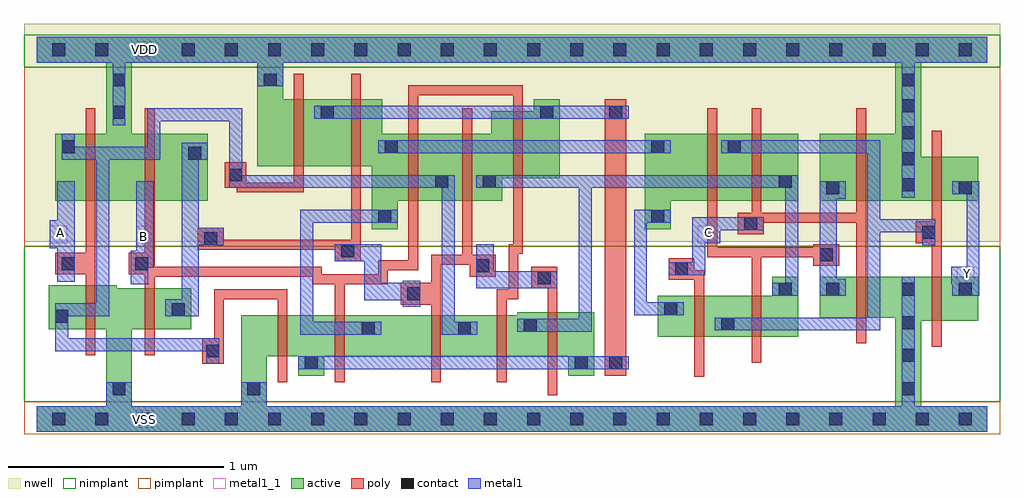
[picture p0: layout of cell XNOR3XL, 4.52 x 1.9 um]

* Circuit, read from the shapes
.subckt XNOR3XL A B C VDD VSS Y
M1 VSS A n1 VSS nfet w=0.205u l=0.045u
M2 n2 B VSS VSS nfet w=0.19u l=0.045u
M3 n3 n1 VSS VSS nfet w=0.19u l=0.045u
M4 n4 B n3 VSS nfet w=0.19u l=0.045u
M5 n1 n2 n4 VSS nfet w=0.19u l=0.045u
M6 n5 B n1 VSS nfet w=0.19u l=0.045u
M7 n3 n2 n5 VSS nfet w=0.205u l=0.045u
M8 n6 C n4 VSS nfet w=0.19u l=0.045u
M9 n5 n7 n6 VSS nfet w=0.19u l=0.045u
M10 VSS C n7 VSS nfet w=0.19u l=0.045u
M11 Y n6 VSS VSS nfet w=0.205u l=0.045u
M12 VDD A n1 VDD pfet w=0.31u l=0.045u
M13 n2 B VDD VDD pfet w=0.31u l=0.045u
M14 n3 n1 VDD VDD pfet w=0.31u l=0.045u
M15 n4 n2 n3 VDD pfet w=0.31u l=0.045u
M16 n1 B n4 VDD pfet w=0.31u l=0.045u
M17 n5 n2 n1 VDD pfet w=0.31u l=0.045u
M18 n3 B n5 VDD pfet w=0.31u l=0.045u
M19 n6 n7 n4 VDD pfet w=0.31u l=0.045u
M20 n5 C n6 VDD pfet w=0.31u l=0.045u
M21 VDD C n7 VDD pfet w=0.31u l=0.045u
M22 Y n6 VDD VDD pfet w=0.205u l=0.045u
.ends

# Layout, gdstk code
import gdstk
lib = gdstk.Library(unit=1e-6, precision=5e-10)
def R(c, l, rs):  # rectangles x0, y0, x1, y1
    for r in rs: c.add(gdstk.rectangle(r[:2], r[2:], *l))
def A(c, l, x, y, w, h, nx, ny, dx, dy):  # array of equal rectangles
    R(c, l, [(x+i*dx, y+j*dy, x+i*dx+w, y+j*dy+h) for i in range(nx) for j in range(ny)])
def P(c, l, *ps):  # polygons
    for p in ps: c.add(gdstk.Polygon(p, *l))
active = (1, 0)
nwell = (2, 0)
poly = (3, 0)
nimplant = (4, 0)
pimplant = (5, 0)
contact = (6, 0)
metal1 = (7, 0)
metal1_1 = (7, 1)

xnor3xl = lib.new_cell('XNOR3XL')
P(xnor3xl, active, [(0,1.77),(4.4,1.77),(4.4,1.65),(4.095,1.65),(4.095,1.215),(4.36,1.215),(4.36,1.01),(3.625,1.01),(3.625,1.32),(3.975,1.32),(3.975,1.65),(1.14,1.65),(1.14,1.48),(1.6,1.48),(1.6,1.32),(2.105,1.32),(2.105,1.425),(2.3,1.425),(2.3,1.48),(2.42,1.48),(2.42,1.115),(2.155,1.115),(2.155,1.01),(1.67,1.01),(1.67,0.88),(1.55,0.88),(1.55,1.17),(1.02,1.17),(1.02,1.65),(0.44,1.65),(0.44,1.32),(0.79,1.32),(0.79,1.01),(0.085,1.01),(0.085,1.32),(0.32,1.32),(0.32,1.65),(0,1.65)],
  [(2.815,1.32),(3.525,1.32),(3.525,1.01),(2.935,1.01),(2.935,0.88),(2.815,0.88)],
  [(0.055,0.62),(0.37,0.62),(0.37,0.605),(0.715,0.605),(0.715,0.415),(0.44,0.415),(0.44,0.06),(0.945,0.06),(0.945,0.48),(2.225,0.48),(2.225,0.495),(2.58,0.495),(2.58,0.2),(2.46,0.2),(2.46,0.29),(1.33,0.29),(1.33,0.2),(1.21,0.2),(1.21,0.29),(1.065,0.29),(1.065,0.06),(3.975,0.06),(3.975,0.47),(3.625,0.47),(3.625,0.66),(4.36,0.66),(4.36,0.455),(4.095,0.455),(4.095,0.06),(4.4,0.06),(4.4,-0.06),(0,-0.06),(0,0.06),(0.32,0.06),(0.32,0.415),(0.055,0.415)],
  [(3.405,0.66),(3.525,0.66),(3.525,0.38),(2.875,0.38),(2.875,0.57),(3.405,0.57)])
R(xnor3xl, nwell, [(-0.06,0.82,4.46,1.83)])
R(xnor3xl, poly, [(2.63,0.2,2.73,1.48)])
P(xnor3xl, poly, [(0.87,1.19),(0.97,1.19),(0.97,1.095),(1.19,1.095),(1.19,1.6),(1.235,1.6),(1.235,1.05),(0.925,1.05),(0.925,1.07),(0.87,1.07)],
  [(0.225,1.44),(0.27,1.44),(0.27,0.295),(0.225,0.295),(0.225,0.67),(0.085,0.67),(0.085,0.77),(0.225,0.77)],
  [(1.72,1.545),(2.25,1.545),(2.25,0.765),(2.23,0.765),(2.23,0.555),(2.175,0.555),(2.175,0.17),(2.13,0.17),(2.13,0.6),(2.185,0.6),(2.185,0.81),(2.205,0.81),(2.205,1.5),(1.765,1.5),(1.765,0.69),(1.625,0.69),(1.625,0.625),(1.425,0.625),(1.425,0.17),(1.38,0.17),(1.38,0.625),(1.275,0.625),(1.275,0.66),(0.545,0.66),(0.545,0.295),(0.5,0.295),(0.5,0.67),(0.425,0.67),(0.425,0.77),(0.5,0.77),(0.5,1.44),(0.545,1.44),(0.545,0.705),(1.32,0.705),(1.32,0.67),(1.58,0.67),(1.58,0.735),(1.72,0.735)],
  [(0.745,0.885),(0.865,0.885),(0.865,0.83),(1.455,0.83),(1.455,1.6),(1.5,1.6),(1.5,0.73),(1.38,0.73),(1.38,0.785),(0.745,0.785)],
  [(1.97,1.44),(2.015,1.44),(2.015,0.76),(2.125,0.76),(2.125,0.66),(2.005,0.66),(2.005,0.715),(1.87,0.715),(1.87,0.17),(1.825,0.17),(1.825,0.53),(1.685,0.53),(1.685,0.63),(1.825,0.63),(1.825,0.76),(1.97,0.76)],
  [(3.105,1.44),(3.15,1.44),(3.15,0.795),(3.595,0.795),(3.595,0.81),(3.715,0.81),(3.715,0.71),(3.595,0.71),(3.595,0.75),(3.355,0.75),(3.355,0.26),(3.31,0.26),(3.31,0.75),(3.105,0.75)],
  [(3.31,1.44),(3.355,1.44),(3.355,0.955),(3.795,0.955),(3.795,1.44),(3.84,1.44),(3.84,0.35),(3.795,0.35),(3.795,0.91),(3.365,0.91),(3.365,0.855),(3.245,0.855),(3.245,0.955),(3.31,0.955)],
  [(4.145,1.335),(4.19,1.335),(4.19,0.335),(4.145,0.335),(4.145,0.815),(4.07,0.815),(4.07,0.915),(4.145,0.915)],
  [(0.82,0.6),(1.16,0.6),(1.16,0.17),(1.115,0.17),(1.115,0.555),(0.865,0.555),(0.865,0.255),(0.765,0.255),(0.765,0.375),(0.82,0.375)],
  [(2.29,0.705),(2.41,0.705),(2.41,0.11),(2.365,0.11),(2.365,0.605),(2.29,0.605)],
  [(2.925,0.745),(3.045,0.745),(3.045,0.69),(3.09,0.69),(3.09,0.195),(3.045,0.195),(3.045,0.645),(2.925,0.645)])
R(xnor3xl, nimplant, [(-0.06,0.08,4.46,0.8), (-0.06,1.63,4.46,1.78)])
R(xnor3xl, pimplant, [(-0.06,-0.07,4.46,0.08), (-0.06,0.8,4.46,1.63)])
A(xnor3xl, contact, 0.07, -0.03, 0.06, 0.06, 22, 2, 0.2, 1.71)
A(xnor3xl, contact, 4.005, 1.055, 0.06, 0.06, 1, 3, 0, 0.12)
R(xnor3xl, contact, [(0.35,0.11,0.41,0.17), (0.975,0.11,1.035,0.17), (4.005,0.11,4.065,0.17), (1.24,0.23,1.3,0.29), (2.49,0.23,2.55,0.29), (2.65,0.23,2.71,0.29), (4.005,0.265,4.065,0.325), (0.785,0.285,0.845,0.345), (1.505,0.39,1.565,0.45), (1.95,0.39,2.01,0.45), (2.255,0.405,2.315,0.465), (3.17,0.41,3.23,0.47), (4.005,0.415,4.065,0.475), (0.085,0.445,0.145,0.505), (0.625,0.475,0.685,0.535), (2.905,0.48,2.965,0.54), (1.715,0.55,1.775,0.61), (3.435,0.57,3.495,0.63), (3.655,0.57,3.715,0.63), (4.005,0.57,4.065,0.63), (4.27,0.57,4.33,0.63), (2.32,0.625,2.38,0.685), (2.955,0.665,3.015,0.725), (2.035,0.68,2.095,0.74), (0.115,0.69,0.175,0.75), (0.455,0.69,0.515,0.75), (3.625,0.73,3.685,0.79), (1.41,0.75,1.47,0.81), (0.775,0.805,0.835,0.865), (4.1,0.835,4.16,0.895), (3.275,0.875,3.335,0.935), (1.58,0.91,1.64,0.97), (2.845,0.91,2.905,0.97), (3.655,1.04,3.715,1.1), (4.27,1.04,4.33,1.1), (1.845,1.07,1.905,1.13), (2.065,1.07,2.125,1.13), (3.435,1.07,3.495,1.13), (0.89,1.1,0.95,1.16), (0.7,1.2,0.76,1.26), (0.115,1.23,0.175,1.29), (1.61,1.23,1.67,1.29), (2.845,1.23,2.905,1.29), (3.2,1.23,3.26,1.29), (0.35,1.39,0.41,1.45), (1.315,1.39,1.375,1.45), (2.33,1.39,2.39,1.45), (2.65,1.39,2.71,1.45), (4.005,1.42,4.065,1.48), (0.35,1.54,0.41,1.6), (1.05,1.54,1.11,1.6), (4.005,1.54,4.065,1.6)])
R(xnor3xl, metal1, [(1.21,0.23,2.74,0.29), (1.58,1.23,2.935,1.29), (1.285,1.39,2.74,1.45)])
P(xnor3xl, metal1, [(0,1.77),(4.4,1.77),(4.4,1.65),(4.065,1.65),(4.065,1.025),(4.005,1.025),(4.005,1.65),(1.14,1.65),(1.14,1.54),(1.02,1.54),(1.02,1.65),(0.41,1.65),(0.41,1.36),(0.35,1.36),(0.35,1.65),(0,1.65)],
  [(0.51,1.44),(0.95,1.44),(0.95,1.13),(1.935,1.13),(1.935,0.45),(2.04,0.45),(2.04,0.39),(1.875,0.39),(1.875,1.07),(0.89,1.07),(0.89,1.38),(0.57,1.38),(0.57,1.2),(0.335,1.2),(0.335,0.475),(0.145,0.475),(0.145,0.375),(0.845,0.375),(0.845,0.255),(0.785,0.255),(0.785,0.315),(0.085,0.315),(0.085,0.535),(0.275,0.535),(0.275,1.2),(0.115,1.2),(0.115,1.32),(0.175,1.32),(0.175,1.26),(0.51,1.26)],
  [(3.17,1.29),(3.905,1.29),(3.905,0.925),(4.16,0.925),(4.16,0.805),(4.1,0.805),(4.1,0.865),(3.905,0.865),(3.905,0.41),(3.14,0.41),(3.14,0.47),(3.845,0.47),(3.845,1.23),(3.17,1.23)],
  [(0.67,1.28),(0.79,1.28),(0.79,1.2),(0.75,1.2),(0.75,0.885),(0.865,0.885),(0.865,0.805),(0.75,0.805),(0.75,0.475),(0.595,0.475),(0.595,0.555),(0.67,0.555)],
  [(0.095,1.1),(0.175,1.1),(0.175,0.635),(0.095,0.635),(0.095,0.79),(0.06,0.79),(0.06,0.92),(0.095,0.92)],
  [(3.625,1.1),(3.745,1.1),(3.745,1.02),(3.705,1.02),(3.705,0.65),(3.745,0.65),(3.745,0.57),(3.625,0.57)],
  [(2.035,1.13),(3.525,1.13),(3.525,0.57),(3.405,0.57),(3.405,0.63),(3.465,0.63),(3.465,1.07),(2.57,1.07),(2.57,0.405),(2.225,0.405),(2.225,0.465),(2.51,0.465),(2.51,1.07),(2.035,1.07)],
  [(0.46,1.1),(0.54,1.1),(0.54,0.7),(0.515,0.7),(0.515,0.625),(0.435,0.625),(0.435,0.78),(0.46,0.78)],
  [(1.22,0.97),(1.67,0.97),(1.67,0.91),(1.28,0.91),(1.28,0.45),(1.595,0.45),(1.595,0.39),(1.22,0.39)],
  [(1.38,0.81),(1.595,0.81),(1.595,0.63),(1.695,0.63),(1.695,0.64),(1.775,0.64),(1.775,0.52),(1.695,0.52),(1.695,0.55),(1.515,0.55),(1.515,0.73),(1.38,0.73)],
  [(2.035,0.81),(2.115,0.81),(2.115,0.685),(2.41,0.685),(2.41,0.605),(2.035,0.605)],
  [(2.765,0.97),(2.935,0.97),(2.935,0.91),(2.825,0.91),(2.825,0.54),(2.995,0.54),(2.995,0.48),(2.765,0.48)],
  [(3.035,0.935),(3.365,0.935),(3.365,0.875),(3.165,0.875),(3.165,0.815),(3.095,0.815),(3.095,0.665),(2.925,0.665),(2.925,0.725),(3.035,0.725)],
  [(4.24,1.1),(4.365,1.1),(4.365,0.57),(4.24,0.57),(4.24,0.625),(4.235,0.625),(4.235,0.705),(4.305,0.705),(4.305,1.04),(4.24,1.04)],
  [(0.32,0.17),(0.44,0.17),(0.44,0.06),(0.945,0.06),(0.945,0.17),(1.065,0.17),(1.065,0.06),(4.005,0.06),(4.005,0.66),(4.065,0.66),(4.065,0.06),(4.4,0.06),(4.4,-0.06),(0,-0.06),(0,0.06),(0.32,0.06)])
A(xnor3xl, metal1_1, 0.46, -0.04, 0.08, 0.08, 1, 3, 0, 0.855)
R(xnor3xl, metal1_1, [(4.26,0.625,4.34,0.705), (0.06,0.815,0.14,0.895), (3.06,0.815,3.14,0.895)])
xnor3xl.add(gdstk.Label('VSS', (0.5,0), layer=7, texttype=0))
xnor3xl.add(gdstk.Label('C', (3.108,0.863), layer=7, texttype=0))
xnor3xl.add(gdstk.Label('B', (0.492,0.847), layer=7, texttype=0))
xnor3xl.add(gdstk.Label('A', (0.108,0.863), layer=7, texttype=0))
xnor3xl.add(gdstk.Label('Y', (4.308,0.673), layer=7, texttype=0))
xnor3xl.add(gdstk.Label('VDD', (0.5,1.71), layer=7, texttype=0))

lib.write_gds('XNOR3XL.gds')
